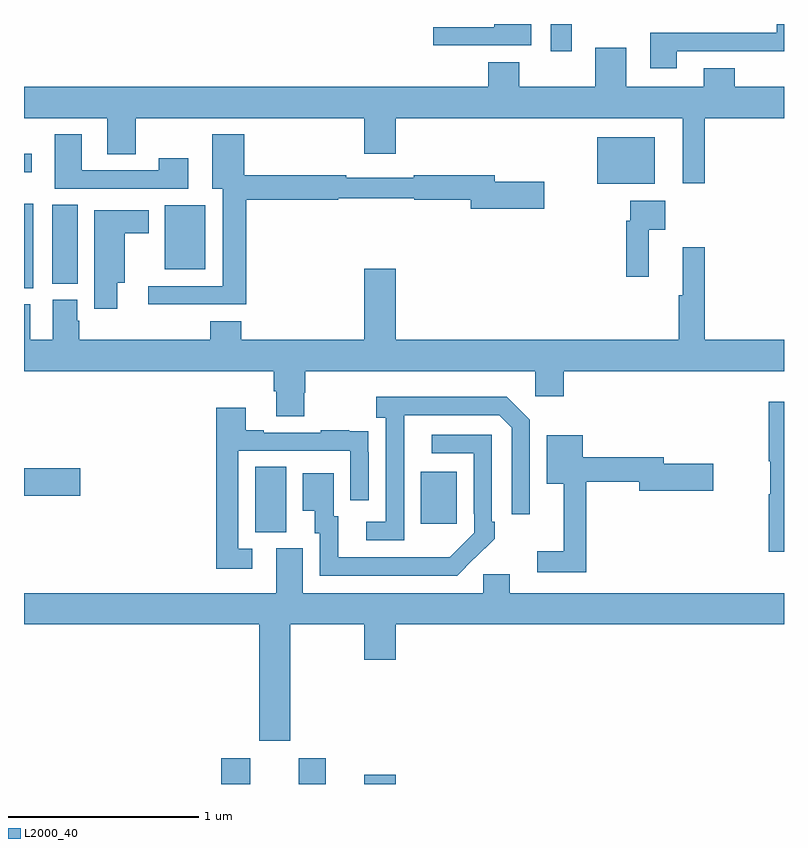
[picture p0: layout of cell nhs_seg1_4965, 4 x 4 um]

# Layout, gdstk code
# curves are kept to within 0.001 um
import gdstk
lib = gdstk.Library(unit=1e-6, precision=1e-09)
def R(c, l, rs):  # rectangles x0, y0, x1, y1
    for r in rs: c.add(gdstk.rectangle(r[:2], r[2:], *l))
def P(c, l, *ps):  # polygons
    for p in ps: c.add(gdstk.Polygon(p, *l))
L2000_40 = (2000, 40)

nhs_seg1_4965 = lib.new_cell('nhs_seg1_4965')
R(nhs_seg1_4965, L2000_40, [(380.039,576.199,380.191,576.334), (380.447,576.199,380.587,576.334), (380.792,576.199,380.956,576.247), (380.216,577.525,380.38,577.868), (381.089,577.569,381.277,577.843), (379,577.715,379.297,577.862), (379,578.809,379.048,579.253), (379.148,578.833,379.282,579.248), (379.742,578.909,379.954,579.244), (382.016,579.359,382.321,579.604), (379,579.42,379.042,579.516), (381.773,580.056,381.882,580.199)])
P(nhs_seg1_4965, L2000_40, [(382.435,580.056),(382.865,580.056),(382.865,580.055),(383,580.055),(383,580.199),(382.962,580.199),(382.962,580.152),(382.295,580.152),(382.295,579.966),(382.435,579.966)],
  [(381.669,580.199),(381.476,580.199),(381.476,580.183),(381.153,580.183),(381.153,580.086),(381.669,580.086)],
  [(382.583,579.704),(383,579.704),(383,579.868),(382.741,579.868),(382.741,579.967),(382.577,579.967),(382.577,579.868),(382.171,579.868),(382.171,580.075),(382.007,580.075),(382.007,579.868),(381.607,579.868),(381.607,579.997),(381.443,579.997),(381.443,579.868),(379,579.868),(379,579.704),(379.439,579.704),(379.439,579.514),(379.587,579.514),(379.587,579.704),(380.792,579.704),(380.792,579.516),(380.956,579.516),(380.956,579.704),(382.466,579.704),(382.466,579.36),(382.583,579.36)],
  [(379.864,579.493),(379.708,579.493),(379.708,579.429),(379.303,579.429),(379.303,579.619),(379.163,579.619),(379.163,579.333),(379.864,579.333)],
  [(380.171,579.274),(380.654,579.274),(380.654,579.282),(381.054,579.282),(381.054,579.274),(381.35,579.274),(381.35,579.227),(381.739,579.227),(381.739,579.369),(381.478,579.369),(381.478,579.403),(381.052,579.403),(381.052,579.39),(380.696,579.39),(380.696,579.403),(380.158,579.403),(380.158,579.619),(379.991,579.619),(379.991,579.332),(380.045,579.332),(380.045,578.82),(379.653,578.82),(379.653,578.723),(380.171,578.723)],
  [(382.289,579.116),(382.375,579.116),(382.375,579.268),(382.191,579.268),(382.191,579.164),(382.171,579.164),(382.171,578.868),(382.289,578.868)],
  [(379.492,578.837),(379.531,578.837),(379.531,579.098),(379.657,579.098),(379.657,579.22),(379.37,579.22),(379.37,578.7),(379.492,578.7)],
  [(380.475,578.259),(380.48,578.259),(380.48,578.372),(381.69,578.372),(381.69,578.241),(381.842,578.241),(381.842,578.372),(383,578.372),(383,578.536),(382.583,578.536),(382.583,579.025),(382.466,579.025),(382.466,578.772),(382.447,578.772),(382.447,578.536),(380.956,578.536),(380.956,578.911),(380.792,578.911),(380.792,578.536),(380.144,578.536),(380.144,578.635),(379.979,578.635),(379.979,578.536),(379.292,578.536),(379.292,578.637),(379.279,578.637),(379.279,578.748),(379.151,578.748),(379.151,578.536),(379.033,578.536),(379.033,578.724),(379,578.724),(379,578.372),(380.315,578.372),(380.315,578.266),(380.327,578.266),(380.327,578.134),(380.475,578.134)],
  [(381,577.939),(381.001,578.139),(381.501,578.139),(381.567,578.073),(381.567,577.62),(381.663,577.62),(381.663,578.115),(381.542,578.236),(380.853,578.236),(380.853,578.126),(380.904,578.126),(380.904,577.578),(380.802,577.578),(380.802,577.482),(381,577.482)],
  [(383,578.212),(382.92,578.212),(382.92,577.899),(382.927,577.899),(382.927,577.725),(382.92,577.725),(382.92,577.421),(383,577.421)],
  [(380.2,577.437),(380.127,577.437),(380.127,577.953),(380.718,577.953),(380.718,577.692),(380.814,577.692),(380.814,577.946),(380.813,577.946),(380.813,578.055),(380.711,578.055),(380.711,578.062),(380.563,578.062),(380.563,578.049),(380.263,578.049),(380.263,578.062),(380.167,578.062),(380.167,578.179),(380.011,578.179),(380.011,577.332),(380.2,577.332)],
  [(381.371,577.387),(381.372,577.386),(381.477,577.491),(381.477,577.579),(381.462,577.579),(381.462,578.037),(381.147,578.037),(381.147,577.941),(381.366,577.941),(381.366,577.621),(381.369,577.621),(381.369,577.521),(381.241,577.393),(380.653,577.392),(380.653,577.608),(380.629,577.608),(380.629,577.834),(380.468,577.834),(380.468,577.637),(380.531,577.637),(380.531,577.518),(380.556,577.518),(380.556,577.296),(381.28,577.296)],
  [(381.959,577.789),(382.238,577.789),(382.238,577.742),(382.627,577.742),(382.627,577.884),(382.366,577.884),(382.366,577.918),(381.94,577.918),(381.94,578.035),(381.752,578.035),(381.752,577.778),(381.842,577.778),(381.842,577.423),(381.702,577.423),(381.702,577.314),(381.959,577.314)],
  [(380.401,577.04),(380.792,577.04),(380.792,576.852),(380.956,576.852),(380.956,577.04),(383,577.04),(383,577.204),(381.556,577.204),(381.556,577.302),(381.417,577.302),(381.417,577.204),(380.467,577.204),(380.467,577.44),(380.327,577.44),(380.327,577.204),(379,577.204),(379,577.04),(380.237,577.04),(380.237,576.426),(380.401,576.426)])

lib.write_gds('nhs_seg1_4965.gds')
